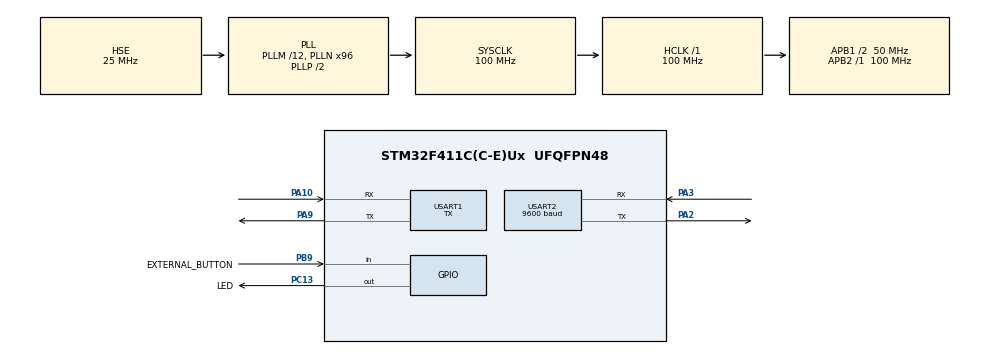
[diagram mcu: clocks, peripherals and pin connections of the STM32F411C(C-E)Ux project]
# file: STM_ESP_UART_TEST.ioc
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Mcu.Family=STM32F4
Mcu.Name=STM32F411C(C-E)Ux
Mcu.Package=UFQFPN48
NVIC.PriorityGroup=NVIC_PRIORITYGROUP_4
NVIC.USART2_IRQn=true\:0\:0\:false\:false\:true\:true\:true\:true
PA10.Mode=Asynchronous
PA10.Signal=USART1_RX
PA2.Mode=Asynchronous
PA2.Signal=USART2_TX
PA3.Mode=Asynchronous
PA3.Signal=USART2_RX
PA9.Mode=Asynchronous
PA9.Signal=USART1_TX
PB9.GPIO_Label=EXTERNAL_BUTTON
PB9.GPIO_PuPd=GPIO_PULLUP
PB9.Signal=GPIO_Input
PC13-ANTI_TAMP.GPIO_Label=LED
PC13-ANTI_TAMP.Signal=GPIO_Output
PH0\ -\ OSC_IN.Mode=HSE-External-Oscillator
PH0\ -\ OSC_IN.Signal=RCC_OSC_IN
PH1\ -\ OSC_OUT.Mode=HSE-External-Oscillator
PH1\ -\ OSC_OUT.Signal=RCC_OSC_OUT
ProjectManager.HeapSize=0x200
ProjectManager.StackSize=0x400
ProjectManager.TargetToolchain=CMake
RCC.48MHZClocksFreq_Value=50000000
RCC.AHBFreq_Value=100000000
RCC.APB1CLKDivider=RCC_HCLK_DIV2
RCC.APB1Freq_Value=50000000
RCC.APB1TimFreq_Value=100000000
RCC.APB2Freq_Value=100000000
RCC.APB2TimFreq_Value=100000000
RCC.CortexFreq_Value=100000000
RCC.HCLKFreq_Value=100000000
RCC.HSE_VALUE=25000000
RCC.HSI_VALUE=16000000
RCC.LSE_VALUE=32768
RCC.PLLM=12
RCC.PLLN=96
RCC.PLLSourceVirtual=RCC_PLLSOURCE_HSE
RCC.SYSCLKFreq_VALUE=100000000
RCC.SYSCLKSource=RCC_SYSCLKSOURCE_PLLCLK
RCC.VCOOutputFreq_Value=200000000
USART1.Mode=MODE_TX
USART1.VirtualMode=VM_ASYNC
USART2.BaudRate=9600
USART2.VirtualMode=VM_ASYNC
board=custom

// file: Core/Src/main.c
/* USER CODE BEGIN Header */
/**
  ******************************************************************************
  * @file           : main.c
  * @brief          : Main program body
  ******************************************************************************
  * @attention
  *
  * Copyright (c) 2026 STMicroelectronics.
  * All rights reserved.
  *
  * This software is licensed under terms that can be found in the LICENSE file
  * in the root directory of this software component.
  * If no LICENSE file comes with this software, it is provided AS-IS.
  *
  ******************************************************************************
  */
/* USER CODE END Header */
#include "main.h"
#include "usart.h"
#include "gpio.h"

/* USER CODE BEGIN Includes */
#include <string.h>
/* USER CODE END Includes */

void SystemClock_Config(void);

/* USER CODE BEGIN 0 */

uint8_t rxdata_byte;
uint8_t rxDatabuf[10];
int write_index = 0;
int read_index = 0;
uint8_t led_state = 0;

void HAL_UART_RxCpltCallback(UART_HandleTypeDef *huart) {
    if (huart->Instance == USART2) {
        rxDatabuf[write_index] = rxdata_byte;
        write_index++;
        if (write_index == 10) {
            write_index = 0;
        }
        HAL_UART_Receive_IT(huart, &rxdata_byte, 1);
    }
}
/* USER CODE END 0 */

int main(void) {

    /* MCU Configuration--------------------------------------------------------*/

    /* Reset of all peripherals, Initializes the Flash interface and the Systick. */
    HAL_Init();

    /* Configure the system clock */
    SystemClock_Config();

    /* Initialize all configured peripherals */
    MX_GPIO_Init();
    MX_USART1_UART_Init();
    MX_USART2_UART_Init();
    /* USER CODE BEGIN 2 */
    HAL_UART_Receive_IT(&huart2, &rxdata_byte, 1);
    /* USER CODE END 2 */

    /* Infinite loop */
    /* USER CODE BEGIN WHILE */
    uint8_t command[10];
    int command_write_pointer = 0;
    while (1) {
        /* USER CODE END WHILE */

        /* USER CODE BEGIN 3 */
        while (read_index != write_index) {
            uint8_t byte = rxDatabuf[read_index];
            read_index = (read_index + 1) % 10;
            if (byte == '\n') {
                command[command_write_pointer] = '\0';
                command_write_pointer = 0;
                if (strcmp((char *)command, "ON") == 0) {
                    HAL_GPIO_WritePin(LED_GPIO_Port, LED_Pin, GPIO_PIN_SET);
                    HAL_UART_Transmit(&huart1, (uint8_t *)"[RX] ON\r\n", 9, 100);
                } else if (strcmp((char *)command, "OFF") == 0) {
                    HAL_GPIO_WritePin(LED_GPIO_Port, LED_Pin, GPIO_PIN_RESET);
                    HAL_UART_Transmit(&huart1, (uint8_t *)"[RX] OFF\r\n", 10, 100);
                } else {
                    HAL_UART_Transmit(&huart1, (uint8_t *)"[RX] unknown: ", 14, 100);
                    HAL_UART_Transmit(&huart1, command, strlen((char *)command), 100);
                    HAL_UART_Transmit(&huart1, (uint8_t *)"\r\n", 2, 100);
                }
            } else {
                command[command_write_pointer++] = byte;
            }
        }

        if (HAL_GPIO_ReadPin(EXTERNAL_BUTTON_GPIO_Port, EXTERNAL_BUTTON_Pin) == GPIO_PIN_RESET) {
            HAL_Delay(50);
            if (HAL_GPIO_ReadPin(EXTERNAL_BUTTON_GPIO_Port, EXTERNAL_BUTTON_Pin) == GPIO_PIN_RESET) {
                led_state = !led_state;
                if (led_state) {
                    HAL_UART_Transmit(&huart2, (uint8_t *)"ON\n", 3, 100);
                    HAL_UART_Transmit(&huart1, (uint8_t *)"[TX] ON\r\n", 9, 100);
                } else {
                    HAL_UART_Transmit(&huart2, (uint8_t *)"OFF\n", 4, 100);
                    HAL_UART_Transmit(&huart1, (uint8_t *)"[TX] OFF\r\n", 10, 100);
                }
                while (HAL_GPIO_ReadPin(EXTERNAL_BUTTON_GPIO_Port, EXTERNAL_BUTTON_Pin) == GPIO_PIN_RESET);
            }
        }
    }
    /* USER CODE END 3 */
}

void SystemClock_Config(void) {
    RCC_OscInitTypeDef RCC_OscInitStruct = {0};
    RCC_ClkInitTypeDef RCC_ClkInitStruct = {0};

    /** Configure the main internal regulator output voltage
    */
    __HAL_RCC_PWR_CLK_ENABLE();
    __HAL_PWR_VOLTAGESCALING_CONFIG(PWR_REGULATOR_VOLTAGE_SCALE1);

    /** Initializes the RCC Oscillators according to the specified parameters
    * in the RCC_OscInitTypeDef structure.
    */
    RCC_OscInitStruct.OscillatorType = RCC_OSCILLATORTYPE_HSE;
    RCC_OscInitStruct.HSEState = RCC_HSE_ON;
    RCC_OscInitStruct.PLL.PLLState = RCC_PLL_ON;
    RCC_OscInitStruct.PLL.PLLSource = RCC_PLLSOURCE_HSE;
    RCC_OscInitStruct.PLL.PLLM = 12;
    RCC_OscInitStruct.PLL.PLLN = 96;
    RCC_OscInitStruct.PLL.PLLP = RCC_PLLP_DIV2;
    RCC_OscInitStruct.PLL.PLLQ = 4;
    if (HAL_RCC_OscConfig(&RCC_OscInitStruct) != HAL_OK) {
        Error_Handler();
    }

    /** Initializes the CPU, AHB and APB buses clocks
    */
    RCC_ClkInitStruct.ClockType = RCC_CLOCKTYPE_HCLK | RCC_CLOCKTYPE_SYSCLK
                                  | RCC_CLOCKTYPE_PCLK1 | RCC_CLOCKTYPE_PCLK2;
    RCC_ClkInitStruct.SYSCLKSource = RCC_SYSCLKSOURCE_PLLCLK;
    RCC_ClkInitStruct.AHBCLKDivider = RCC_SYSCLK_DIV1;
    RCC_ClkInitStruct.APB1CLKDivider = RCC_HCLK_DIV2;
    RCC_ClkInitStruct.APB2CLKDivider = RCC_HCLK_DIV1;

    if (HAL_RCC_ClockConfig(&RCC_ClkInitStruct, FLASH_LATENCY_3) != HAL_OK) {
        Error_Handler();
    }
}

void Error_Handler(void) {
    __disable_irq();
    while (1) {
    }
}
